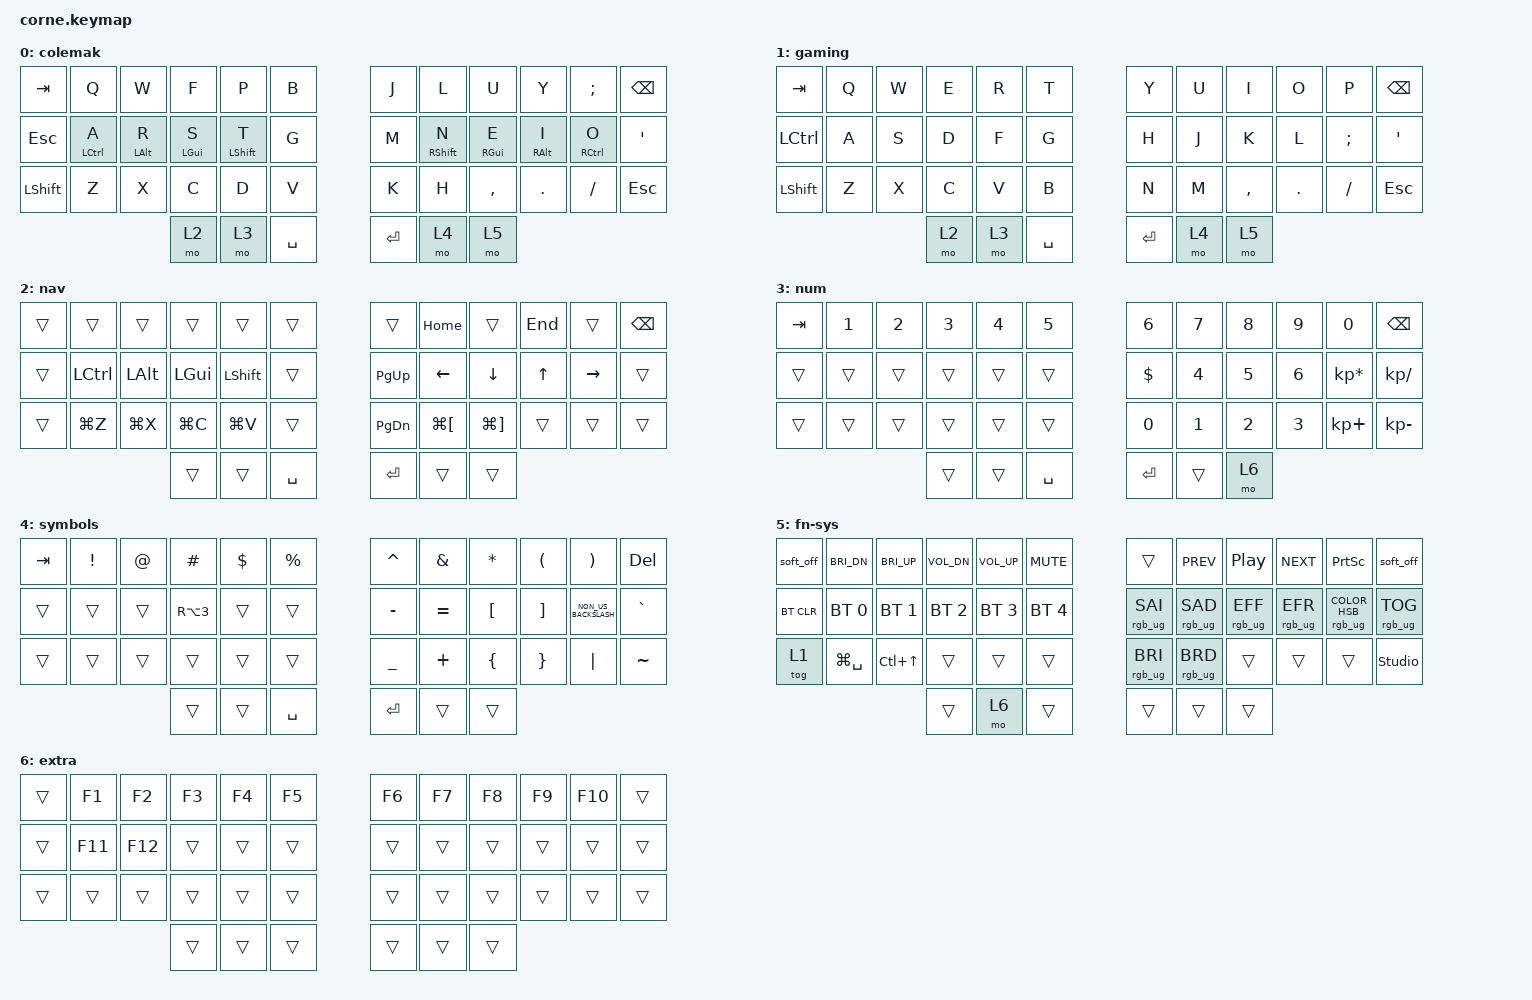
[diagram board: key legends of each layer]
/*
 * Copyright (c) 2020 The ZMK Contributors
 *
 * SPDX-License-Identifier: MIT
 */

#include <behaviors.dtsi>
#include <dt-bindings/zmk/bt.h>
#include <dt-bindings/zmk/keys.h>
#include <dt-bindings/zmk/rgb.h>

&led_strip { chain-length = <27>; };

/ {
    behaviors {
        hml: hml {
            compatible = "zmk,behavior-hold-tap";
            label = "home-mod-left";
            bindings = <&kp>, <&kp>;

            #binding-cells = <2>;
            tapping-term-ms = <200>;
            quick-tap-ms = <175>;
            require-prior-idle-ms = <250>;
            flavor = "balanced";
            hold-trigger-on-release;
            hold-trigger-key-positions = <6 7 8 9 10 11 18 19 20 21 22 23 30 31 32 33 34 35 39 40 41>;
        };

        hmr: hmr {
            compatible = "zmk,behavior-hold-tap";
            label = "home-mod-right";
            bindings = <&kp>, <&kp>;

            #binding-cells = <2>;
            tapping-term-ms = <200>;
            quick-tap-ms = <175>;
            require-prior-idle-ms = <250>;
            flavor = "balanced";
            hold-trigger-on-release;
            hold-trigger-key-positions = <0 1 2 3 4 5 12 13 14 15 16 17 24 25 26 27 28 29 36 37 38>;
        };
    };

    keymap {
        compatible = "zmk,keymap";

        colemak {
            bindings = <
&kp TAB    &kp Q         &kp W        &kp F        &kp P         &kp B        &kp J    &kp L         &kp U        &kp Y        &kp SEMI      &kp BSPC
&kp ESC    &hml LCTRL A  &hml LALT R  &hml LGUI S  &hml LSHFT T  &kp G        &kp M    &hmr RSHFT N  &hmr RGUI E  &hmr RALT I  &hmr RCTRL O  &kp SQT
&kp LSHFT  &kp Z         &kp X        &kp C        &kp D         &kp V        &kp K    &kp H         &kp COMMA    &kp DOT      &kp FSLH      &kp ESC
                                      &mo 2        &mo 3         &kp SPACE    &kp RET  &mo 4         &mo 5
            >;
        };

        gaming {
            bindings = <
&kp TAB    &kp Q  &kp W  &kp E  &kp R  &kp T        &kp Y    &kp U  &kp I      &kp O    &kp P     &kp BSPC
&kp LCTRL  &kp A  &kp S  &kp D  &kp F  &kp G        &kp H    &kp J  &kp K      &kp L    &kp SEMI  &kp SQT
&kp LSHFT  &kp Z  &kp X  &kp C  &kp V  &kp B        &kp N    &kp M  &kp COMMA  &kp DOT  &kp FSLH  &kp ESC
                         &mo 2  &mo 3  &kp SPACE    &kp RET  &mo 4  &mo 5
            >;
        };

        nav {
            bindings = <
&trans  &trans     &trans     &trans     &trans     &trans       &trans         &kp HOME      &trans        &kp END  &trans     &kp BSPC
&trans  &kp LCTRL  &kp LALT   &kp LGUI   &kp LSHFT  &trans       &kp PAGE_UP    &kp LEFT      &kp DOWN      &kp UP   &kp RIGHT  &trans
&trans  &kp LG(Z)  &kp LG(X)  &kp LG(C)  &kp LG(V)  &trans       &kp PAGE_DOWN  &kp LG(LBKT)  &kp LG(RBKT)  &trans   &trans     &trans
                              &trans     &trans     &kp SPACE    &kp RET        &trans        &trans
            >;
        };

        num {
            bindings = <
&kp TAB  &kp N1  &kp N2  &kp N3  &kp N4  &kp N5       &kp N6      &kp N7        &kp N8        &kp N9        &kp N0           &kp BSPC
&trans   &trans  &trans  &trans  &trans  &trans       &kp DOLLAR  &kp NUMBER_4  &kp N5        &kp NUMBER_6  &kp KP_MULTIPLY  &kp KP_DIVIDE
&trans   &trans  &trans  &trans  &trans  &trans       &kp N0      &kp NUMBER_1  &kp NUMBER_2  &kp NUMBER_3  &kp KP_PLUS      &kp KP_SUBTRACT
                         &trans  &trans  &kp SPACE    &kp RET     &trans        &mo 6
            >;
        };

        symbols {
            bindings = <
&kp TAB  &kp EXCL  &kp AT  &kp HASH          &kp DLLR  &kp PRCNT    &kp CARET  &kp AMPS   &kp ASTRK  &kp LPAR  &kp RPAR              &kp DELETE
&trans   &trans    &trans  &kp RA(NUMBER_3)  &trans    &trans       &kp MINUS  &kp EQUAL  &kp LBKT   &kp RBKT  &kp NON_US_BACKSLASH  &kp GRAVE
&trans   &trans    &trans  &trans            &trans    &trans       &kp UNDER  &kp PLUS   &kp LBRC   &kp RBRC  &kp PIPE              &kp TILDE
                           &trans            &trans    &kp SPACE    &kp RET    &trans     &trans
            >;
        };

        fn-sys {
            bindings = <
&soft_off   &kp C_BRI_DN   &kp C_BRI_UP  &kp C_VOL_DN  &kp C_VOL_UP  &kp K_MUTE      &trans           &kp C_PREV       &kp C_PP         &kp C_NEXT       &kp PSCRN                       &soft_off
&bt BT_CLR  &bt BT_SEL 0   &bt BT_SEL 1  &bt BT_SEL 2  &bt BT_SEL 3  &bt BT_SEL 4    &rgb_ug RGB_SAI  &rgb_ug RGB_SAD  &rgb_ug RGB_EFF  &rgb_ug RGB_EFR  &rgb_ug RGB_COLOR_HSB(0,0,100)  &rgb_ug RGB_TOG
&tog 1      &kp LG(SPACE)  &kp LC(UP)    &trans        &trans        &trans          &rgb_ug RGB_BRI  &rgb_ug RGB_BRD  &trans           &trans           &trans                          &studio_unlock
                                         &trans        &mo 6         &trans          &trans           &trans           &trans
            >;
        };

        extra {
            bindings = <
&trans  &kp F1   &kp F2   &kp F3  &kp F4  &kp F5    &kp F6  &kp F7  &kp F8  &kp F9  &kp F10  &trans
&trans  &kp F11  &kp F12  &trans  &trans  &trans    &trans  &trans  &trans  &trans  &trans   &trans
&trans  &trans   &trans   &trans  &trans  &trans    &trans  &trans  &trans  &trans  &trans   &trans
                          &trans  &trans  &trans    &trans  &trans  &trans
            >;
        };
    };
};
